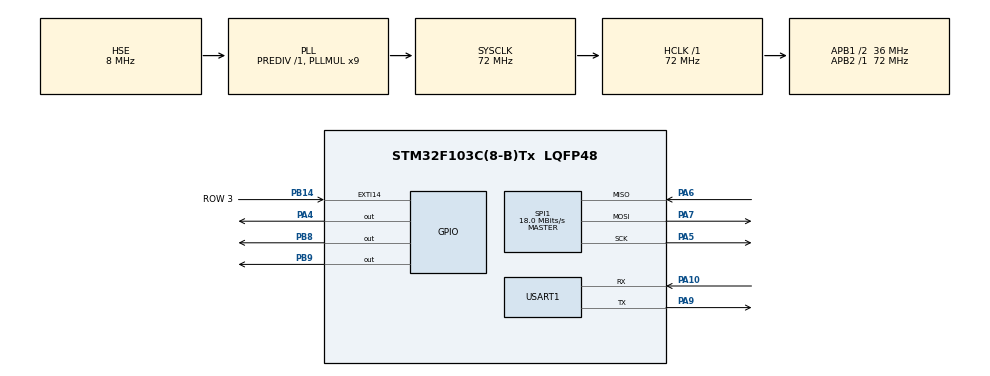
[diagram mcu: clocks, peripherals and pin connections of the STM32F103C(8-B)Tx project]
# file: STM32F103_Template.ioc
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Mcu.Family=STM32F1
Mcu.Name=STM32F103C(8-B)Tx
Mcu.Package=LQFP48
NVIC.PriorityGroup=NVIC_PRIORITYGROUP_4
NVIC.USART1_IRQn=true\:0\:0\:false\:false\:true\:true\:true\:true
PA10.Mode=Asynchronous
PA10.Signal=USART1_RX
PA13.Mode=Serial_Wire
PA13.Signal=SYS_JTMS-SWDIO
PA14.Mode=Serial_Wire
PA14.Signal=SYS_JTCK-SWCLK
PA4.Signal=GPIO_Output
PA5.Mode=Full_Duplex_Master
PA5.Signal=SPI1_SCK
PA6.Mode=Full_Duplex_Master
PA6.Signal=SPI1_MISO
PA7.Mode=Full_Duplex_Master
PA7.Signal=SPI1_MOSI
PA9.Mode=Asynchronous
PA9.Signal=USART1_TX
PB14.GPIO_Label=ROW 3
PB14.GPIO_PuPd=GPIO_PULLUP
PB14.Signal=GPXTI14
PB8.Signal=GPIO_Output
PB9.Signal=GPIO_Output
PD0-OSC_IN.Mode=HSE-External-Oscillator
PD0-OSC_IN.Signal=RCC_OSC_IN
PD1-OSC_OUT.Mode=HSE-External-Oscillator
PD1-OSC_OUT.Signal=RCC_OSC_OUT
ProjectManager.HeapSize=0x200
ProjectManager.StackSize=0x400
ProjectManager.TargetToolchain=MDK-ARM V5
RCC.AHBFreq_Value=72000000
RCC.APB1CLKDivider=RCC_HCLK_DIV2
RCC.APB1Freq_Value=36000000
RCC.APB1TimFreq_Value=72000000
RCC.APB2Freq_Value=72000000
RCC.APB2TimFreq_Value=72000000
RCC.HCLKFreq_Value=72000000
RCC.PLLMUL=RCC_PLL_MUL9
RCC.PLLSourceVirtual=RCC_PLLSOURCE_HSE
RCC.SYSCLKFreq_VALUE=72000000
RCC.SYSCLKSource=RCC_SYSCLKSOURCE_PLLCLK
RCC.USBFreq_Value=72000000
SPI1.BaudRatePrescaler=SPI_BAUDRATEPRESCALER_4
SPI1.CalculateBaudRate=18.0 MBits/s
SPI1.Direction=SPI_DIRECTION_2LINES
SPI1.Mode=SPI_MODE_MASTER
SPI1.VirtualType=VM_MASTER
USART1.VirtualMode=VM_ASYNC
board=custom

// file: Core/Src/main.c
/* USER CODE BEGIN Header */
/**
  ******************************************************************************
  * @file           : main.c
  * @brief          : Main program body
  ******************************************************************************
  * @attention
  *
  * Copyright (c) 2026 STMicroelectronics.
  * All rights reserved.
  *
  * This software is licensed under terms that can be found in the LICENSE file
  * in the root directory of this software component.
  * If no LICENSE file comes with this software, it is provided AS-IS.
  *
  ******************************************************************************
  */
/* USER CODE END Header */
#include "main.h"
#include "spi.h"
#include "usart.h"
#include "gpio.h"

/* USER CODE BEGIN Includes */
#include "keyboard.h"
#include <stdio.h>
#include "led.h"
#include "beep.h"
#include "lock.h"
#include "oled.h"
#include "w25q128.h"
#include "Delay.h"
#include "password.h"
/* USER CODE END Includes */

/* USER CODE BEGIN PV */
uint8_t rx_buffer[128]; //接收的缓冲区
uint8_t rx_len = 0; // 接收到的数据长度
uint8_t rx_temp = 0; // 临时存放的当前字�?
/* USER CODE END PV */

void SystemClock_Config(void);

int main(void)
{

  /* MCU Configuration--------------------------------------------------------*/

  /* Reset of all peripherals, Initializes the Flash interface and the Systick. */
  HAL_Init();

  /* Configure the system clock */
  SystemClock_Config();

  /* Initialize all configured peripherals */
  MX_GPIO_Init();
  MX_USART1_UART_Init();
  MX_SPI1_Init();
  /* USER CODE BEGIN 2 */
  printf("System Started!\r\n");
  // �?�? RXNE (接收不为�?) 中断 -> 收到1个字节就会进中断
  __HAL_UART_ENABLE_IT(&huart1, UART_IT_RXNE);
  // �?�? RXNE (接收不为�?) 中断 -> 收到1个字节就会进中断
  __HAL_UART_ENABLE_IT(&huart1, UART_IT_IDLE);
	Delay_Init();
	beep_init();
    Keyboard_Init();
    lock_init();
    oled_init();
	password_init();
//  w25q128_init();
    printf("hello world!\r\n");
//  oled_show_input();
    password_check();

    uint8_t key_last = 0;
  /* USER CODE END 2 */

  /* Infinite loop */
  /* USER CODE BEGIN WHILE */
  while (1)
  {
	  oled_show_input();
	  key_last = password_get_input();
	  //keyValue = keyboard_GetValue();
	  if(key_last == POUND_KEY){
		  if(password_compare() == TRUE)
			  password_input_right_action();
		  else
			  password_input_wrong_action();
	  }
	  else if(key_last == STAR_KEY){
	      oled_show_old();
		  password_get_input();
		  if(password_compare() == TRUE)
			  password_old_right_action();
		  else
			  password_old_wrong_action();
	  }
    /* USER CODE END WHILE */

    /* USER CODE BEGIN 3 */
// ���԰���
//	  keyValue = keyboard_GetValue();
//	  if (keyValue != 0){
//			printf("You enter: %c\r\n", keyValue);
//			keyValue = 0;
//	  }
  }
  /* USER CODE END 3 */
}

void SystemClock_Config(void)
{
  RCC_OscInitTypeDef RCC_OscInitStruct = {0};
  RCC_ClkInitTypeDef RCC_ClkInitStruct = {0};

  /** Initializes the RCC Oscillators according to the specified parameters
  * in the RCC_OscInitTypeDef structure.
  */
  RCC_OscInitStruct.OscillatorType = RCC_OSCILLATORTYPE_HSE;
  RCC_OscInitStruct.HSEState = RCC_HSE_ON;
  RCC_OscInitStruct.HSEPredivValue = RCC_HSE_PREDIV_DIV1;
  RCC_OscInitStruct.HSIState = RCC_HSI_ON;
  RCC_OscInitStruct.PLL.PLLState = RCC_PLL_ON;
  RCC_OscInitStruct.PLL.PLLSource = RCC_PLLSOURCE_HSE;
  RCC_OscInitStruct.PLL.PLLMUL = RCC_PLL_MUL9;
  if (HAL_RCC_OscConfig(&RCC_OscInitStruct) != HAL_OK)
  {
    Error_Handler();
  }

  /** Initializes the CPU, AHB and APB buses clocks
  */
  RCC_ClkInitStruct.ClockType = RCC_CLOCKTYPE_HCLK|RCC_CLOCKTYPE_SYSCLK
                              |RCC_CLOCKTYPE_PCLK1|RCC_CLOCKTYPE_PCLK2;
  RCC_ClkInitStruct.SYSCLKSource = RCC_SYSCLKSOURCE_PLLCLK;
  RCC_ClkInitStruct.AHBCLKDivider = RCC_SYSCLK_DIV1;
  RCC_ClkInitStruct.APB1CLKDivider = RCC_HCLK_DIV2;
  RCC_ClkInitStruct.APB2CLKDivider = RCC_HCLK_DIV1;

  if (HAL_RCC_ClockConfig(&RCC_ClkInitStruct, FLASH_LATENCY_2) != HAL_OK)
  {
    Error_Handler();
  }
}

void Error_Handler(void)
{
  __disable_irq();
  while (1)
  {
  }
}
